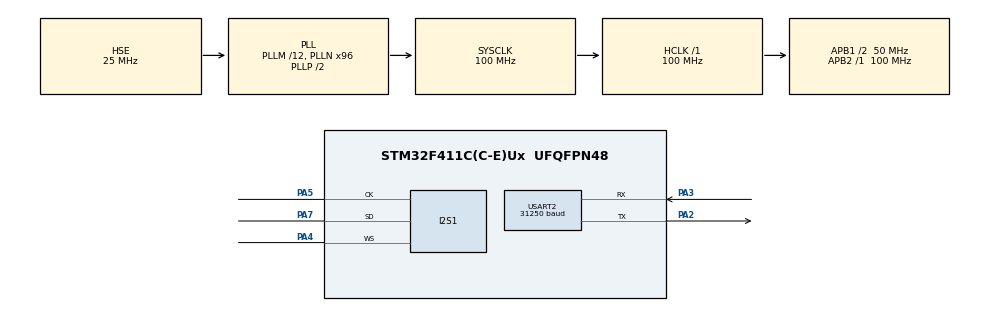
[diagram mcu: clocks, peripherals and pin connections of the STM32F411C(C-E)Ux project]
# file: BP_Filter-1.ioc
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Dma.Request0=SPI1_TX
Dma.SPI1_TX.0.Direction=DMA_MEMORY_TO_PERIPH
Dma.SPI1_TX.0.FIFOMode=DMA_FIFOMODE_ENABLE
Dma.SPI1_TX.0.FIFOThreshold=DMA_FIFO_THRESHOLD_FULL
Dma.SPI1_TX.0.Instance=DMA2_Stream2
Dma.SPI1_TX.0.MemBurst=DMA_MBURST_SINGLE
Dma.SPI1_TX.0.MemDataAlignment=DMA_MDATAALIGN_HALFWORD
Dma.SPI1_TX.0.MemInc=DMA_MINC_ENABLE
Dma.SPI1_TX.0.Mode=DMA_CIRCULAR
Dma.SPI1_TX.0.PeriphBurst=DMA_PBURST_SINGLE
Dma.SPI1_TX.0.PeriphDataAlignment=DMA_PDATAALIGN_HALFWORD
Dma.SPI1_TX.0.PeriphInc=DMA_PINC_DISABLE
Dma.SPI1_TX.0.Priority=DMA_PRIORITY_LOW
I2S1.AudioFreq=I2S_AUDIOFREQ_32K
I2S1.AudioFreqCustom=44100
I2S1.ErrorAudioFreq=0.33 %
I2S1.FullDuplexMode=I2S_FULLDUPLEXMODE_DISABLE
I2S1.Instance=SPI$Index
I2S1.RealAudioFreq=32.106 KHz
I2S1.VirtualMode=I2S_MODE_MASTER
Mcu.Family=STM32F4
Mcu.Name=STM32F411C(C-E)Ux
Mcu.Package=UFQFPN48
NVIC.DMA2_Stream2_IRQn=true\:0\:0\:false\:false\:true\:false\:true
NVIC.PriorityGroup=NVIC_PRIORITYGROUP_4
NVIC.USART2_IRQn=true\:0\:0\:false\:false\:true\:true\:true
PA2.Mode=Asynchronous
PA2.Signal=USART2_TX
PA3.Mode=Asynchronous
PA3.Signal=USART2_RX
PA4.Mode=Half_Duplex_Master
PA4.Signal=I2S1_WS
PA5.Mode=Half_Duplex_Master
PA5.Signal=I2S1_CK
PA7.Mode=Half_Duplex_Master
PA7.Signal=I2S1_SD
PH0\ -\ OSC_IN.Mode=HSE-External-Oscillator
PH0\ -\ OSC_IN.Signal=RCC_OSC_IN
PH1\ -\ OSC_OUT.Mode=HSE-External-Oscillator
PH1\ -\ OSC_OUT.Signal=RCC_OSC_OUT
ProjectManager.HeapSize=0x200
ProjectManager.StackSize=0x400
ProjectManager.TargetToolchain=SW4STM32
RCC.48MHZClocksFreq_Value=50000000
RCC.AHBFreq_Value=100000000
RCC.APB1CLKDivider=RCC_HCLK_DIV2
RCC.APB1Freq_Value=50000000
RCC.APB1TimFreq_Value=100000000
RCC.APB2Freq_Value=100000000
RCC.APB2TimFreq_Value=100000000
RCC.CortexFreq_Value=100000000
RCC.HCLKFreq_Value=100000000
RCC.HSE_VALUE=25000000
RCC.HSI_VALUE=16000000
RCC.LSE_VALUE=32768
RCC.PLLM=12
RCC.PLLN=96
RCC.PLLSourceVirtual=RCC_PLLSOURCE_HSE
RCC.SYSCLKFreq_VALUE=100000000
RCC.SYSCLKSource=RCC_SYSCLKSOURCE_PLLCLK
RCC.VCOOutputFreq_Value=200000000
USART2.BaudRate=31250
USART2.VirtualMode=VM_ASYNC
board=custom

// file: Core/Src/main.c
/* BP-Filter-1 */
	/*
	* This program is free software; you can redistribute it and/or modify
	* it under the terms of the GNU General Public License as published by
	* the Free Software Foundation; either version 2 of the License, or
	* (at your option) any later version.
	*
	* This program is distributed in the hope that it will be useful,
	* but WITHOUT ANY WARRANTY; without even the implied warranty of
	* MERCHANTABILITY or FITNESS FOR A PARTICULAR PURPOSE. See the
	* GNU General Public License for more details.
	*
	* You should have received a copy of the GNU General Public License
	* along with this program; If not, see <http://www.gnu.org/licenses/>.
	*/
/* USER CODE END Header */

#include "main.h"

I2S_HandleTypeDef hi2s1;
DMA_HandleTypeDef hdma_spi1_tx;

UART_HandleTypeDef huart2;

/* USER CODE BEGIN PV */
uint16_t audiobuff[BUFF_LEN]; // THE audio buffer

//---MIDI Interface variables
uint8_t rx_buff[3];
uint8_t MIDI_rx[3];
uint8_t MIDIcmd;
uint8_t MIDInote;
uint8_t MIDIvel;

uint8_t voice[16];
uint8_t noteCount=0;
uint8_t currNote=54;//initial note value
uint8_t noteByteFlag=0;

//---pitchbend variables
uint8_t bendRange=6;
float bendFactor=1.0f;

extern Oscillator_t 		op1 ;
extern ADSR_t amp_EG;

/* USER CODE END PV */

void SystemClock_Config(void);
static void MX_GPIO_Init(void);
static void MX_DMA_Init(void);
static void MX_I2S1_Init(void);
static void MX_USART2_UART_Init(void);
/* USER CODE BEGIN PFP */
void procMIDI(void);
void MIDInoteOn(uint8_t note);
void MIDInoteOff(uint8_t note);
void doPitchBnd(void);
/* USER CODE END PFP */

/* USER CODE BEGIN 0 */
/* -------these two callbacks keep the circular DMA buffer loaded ------------*/

//when DMA output to dac is halfway done, we will reload the first 1000 values
//while the DMA output continues with the 2nd half of the buffer
//the BUFF_LEN_DIV4=500 but we are doing left and right samples (*2)= 1000 samples.
void HAL_I2S_TxHalfCpltCallback(I2S_HandleTypeDef *hi2s) {

	make_sound((uint16_t *) audiobuff, BUFF_LEN_DIV4);

}

//The DMA output has reached the end of the buffer.  The 1st half is done loading and the DMA
//is going to start sending the 1st half of elements/values to the DAC Chip again.  While it is
//doing that we want to fill in the 2nd half again starting at 1000 elements past &audiobuff
void HAL_I2S_TxCpltCallback(I2S_HandleTypeDef *hi2s) {
	make_sound((uint16_t *) (audiobuff + BUFF_LEN_DIV2), BUFF_LEN_DIV4);
}

//callback when a value is received at the midi port
// (the HAL_NVIC_SetPriority in HAL_UART_MspInit must be set to 0!)
void HAL_UART_RxCpltCallback(UART_HandleTypeDef *huart) {

  //ignore 0xFx commands
	if (rx_buff[0] >= 0xF0) {
		//reset the interrupt for the MIDI port
		HAL_UART_Receive_IT(&huart2, rx_buff, 1);
		return;
	}

//save a command byte to MIDI_rx[0]
	if (rx_buff[0] & 0x80) {
		MIDI_rx[0] = rx_buff[0];
		noteByteFlag = 0;// clear the flag
		HAL_UART_Receive_IT(&huart2, rx_buff, 1);
		return;
	}

//when we get here we are saving a note Velocity or CC value
	if (noteByteFlag) {
		noteByteFlag = 0;
		MIDI_rx[2] = rx_buff[0];
		HAL_UART_Receive_IT(&huart2, rx_buff, 1);
		procMIDI();//we have three bytes, LET's GO PROCESS THEM!
		return;
	}

	//if we get to here, then we must be rx'ing a MIDI note or Control Change number
	MIDI_rx[1] = rx_buff[0];
	noteByteFlag = 1;//set flag so we stop at above evaluation
	HAL_UART_Receive_IT(&huart2, rx_buff, 1);

}

void procMIDI(void) {

	MIDIcmd = MIDI_rx[0];
	MIDInote = MIDI_rx[1];
	MIDIvel = MIDI_rx[2];

	if ((!MIDIvel) && (MIDIcmd == 0x90)) {
		MIDInoteOff(MIDInote);
		HAL_UART_Receive_IT(&huart2, rx_buff, 1);
		return;
	}

	if (MIDIcmd == 0x80) {
		MIDInoteOff(MIDInote);
		HAL_UART_Receive_IT(&huart2, rx_buff, 1);
		return;
	}

	if (MIDIcmd == 0x90) {
		MIDInoteOn(MIDInote);
		HAL_UART_Receive_IT(&huart2, rx_buff, 1);
		return;
	}

	if (MIDIcmd == 0xB0) {
		ProcessRXdMidiCCs();
		HAL_UART_Receive_IT(&huart2, rx_buff, 1);
		return;
	}

	if (MIDIcmd == 0xE0) {
		doPitchBnd();
		HAL_UART_Receive_IT(&huart2, rx_buff, 1);
		return;
	}
}

void MIDInoteOn(uint8_t note)
{
  if (!noteCount) {
    voice [0] = note;
    ADSR_keyOn(&amp_EG);
    currNote = voice[0];
    noteCount++;
    return;
  }

  for (int i = 0; i < 16; i++) {
    if (!voice[i]) {
      voice[i] = note;
      currNote = voice[i];
      ADSR_keyOn(&amp_EG);
      noteCount++;
      break;
    }
  }

}

void MIDInoteOff(uint8_t note)
{

  if (note == currNote && noteCount>1) {
	  for (int i = 0; i < 16; i++) {
      if (note == voice[i]) {
        currNote = voice[i - 1];
        ADSR_keyOn(&amp_EG);
        voice[i] = 0;
        noteCount--;
        break;
      }

    }
          return;
  }

  if (noteCount < 2) {
	  ADSR_keyOff(&amp_EG);
    voice[0] = 0;
    noteCount--;
    if (noteCount < 0) {
      noteCount = 0;
    }
  }
  if (noteCount > 1) {  //if a note is released that was held down, but not playing
    for (int i = 0; i < 16; i++) {// find the note in the array
      if (voice[i] == note) {
        voice[i] = 0; //remove the note
        for (int c = (i + 1); c < 16; c++) {
          voice[i] = voice[c]; //shift all notes past the removed one, left by one place in array
          ++i;
        }
        voice[15] = 0;
        noteCount--;
        break;
      }
    }
  }

}

void doPitchBnd(void) {

	uint16_t pBendMSB = MIDIvel;
	uint16_t pBendLSB = MIDInote;
	pBendMSB = pBendMSB << 7;
	uint16_t pBendVal = pBendMSB | pBendLSB;
	float mapPitch = pBendVal - 8192;
	float semiPitch = mapPitch / 8192;
	float adjSemiPitch = semiPitch * bendRange;
	float preBendFctr = adjSemiPitch / 12;
	bendFactor = powf(2.0, preBendFctr);

}

/* USER CODE END 0 */

int main(void)
{

  /* MCU Configuration--------------------------------------------------------*/

  /* Reset of all peripherals, Initializes the Flash interface and the Systick. */
  HAL_Init();

  /* Configure the system clock */
  SystemClock_Config();

  /* Initialize all configured peripherals */
  MX_GPIO_Init();
  MX_DMA_Init();
  MX_I2S1_Init();
  MX_USART2_UART_Init();
  /* USER CODE BEGIN 2 */

  Synth_Init();//inits some basic settings to the oscillator

  //init the I2S interface
  HAL_I2S_Init(&hi2s1);

  /*start the DMA and inform how long the buffer is so it knows
   where the halfway point is and the endpoint (when completed)
   VVVV---THIS starts up the audio stream!---VVV  */
  HAL_I2S_Transmit_DMA(&hi2s1, (uint16_t*) &audiobuff[0], BUFF_LEN);

  //clear array value to 0
  MIDI_rx[1] = 0;

  /* USER CODE END 2 */

  /* Infinite loop */
  /* USER CODE BEGIN WHILE */
  while (1)
  {

	//enables the interrupt for the MIDI port
	//in MX_DMA_Init, be sure we have "HAL_NVIC_SetPriority(DMA1_Stream5_IRQn, 13, 0); "
	HAL_UART_Receive_IT(&huart2, rx_buff, 1);

    /* USER CODE END WHILE */

  }
}

void SystemClock_Config(void)
{
  RCC_OscInitTypeDef RCC_OscInitStruct = {0};
  RCC_ClkInitTypeDef RCC_ClkInitStruct = {0};
  RCC_PeriphCLKInitTypeDef PeriphClkInitStruct = {0};

  /** Configure the main internal regulator output voltage
  */
  __HAL_RCC_PWR_CLK_ENABLE();
  __HAL_PWR_VOLTAGESCALING_CONFIG(PWR_REGULATOR_VOLTAGE_SCALE1);
  /** Initializes the RCC Oscillators according to the specified parameters
  * in the RCC_OscInitTypeDef structure.
  */
  RCC_OscInitStruct.OscillatorType = RCC_OSCILLATORTYPE_HSE;
  RCC_OscInitStruct.HSEState = RCC_HSE_ON;
  RCC_OscInitStruct.PLL.PLLState = RCC_PLL_ON;
  RCC_OscInitStruct.PLL.PLLSource = RCC_PLLSOURCE_HSE;
  RCC_OscInitStruct.PLL.PLLM = 12;
  RCC_OscInitStruct.PLL.PLLN = 96;
  RCC_OscInitStruct.PLL.PLLP = RCC_PLLP_DIV2;
  RCC_OscInitStruct.PLL.PLLQ = 4;
  if (HAL_RCC_OscConfig(&RCC_OscInitStruct) != HAL_OK)
  {
    Error_Handler();
  }
  /** Initializes the CPU, AHB and APB buses clocks
  */
  RCC_ClkInitStruct.ClockType = RCC_CLOCKTYPE_HCLK|RCC_CLOCKTYPE_SYSCLK
                              |RCC_CLOCKTYPE_PCLK1|RCC_CLOCKTYPE_PCLK2;
  RCC_ClkInitStruct.SYSCLKSource = RCC_SYSCLKSOURCE_PLLCLK;
  RCC_ClkInitStruct.AHBCLKDivider = RCC_SYSCLK_DIV1;
  RCC_ClkInitStruct.APB1CLKDivider = RCC_HCLK_DIV2;
  RCC_ClkInitStruct.APB2CLKDivider = RCC_HCLK_DIV1;

  if (HAL_RCC_ClockConfig(&RCC_ClkInitStruct, FLASH_LATENCY_3) != HAL_OK)
  {
    Error_Handler();
  }
  PeriphClkInitStruct.PeriphClockSelection = RCC_PERIPHCLK_I2S;
  PeriphClkInitStruct.PLLI2S.PLLI2SN = 194;
  PeriphClkInitStruct.PLLI2S.PLLI2SM = 16;
  PeriphClkInitStruct.PLLI2S.PLLI2SR = 2;
  if (HAL_RCCEx_PeriphCLKConfig(&PeriphClkInitStruct) != HAL_OK)
  {
    Error_Handler();
  }
}

static void MX_I2S1_Init(void)
{

  hi2s1.Instance = SPI1;
  hi2s1.Init.Mode = I2S_MODE_MASTER_TX;
  hi2s1.Init.Standard = I2S_STANDARD_PHILIPS;
  hi2s1.Init.DataFormat = I2S_DATAFORMAT_16B;
  hi2s1.Init.MCLKOutput = I2S_MCLKOUTPUT_DISABLE;
  hi2s1.Init.AudioFreq = I2S_AUDIOFREQ_32K;
  hi2s1.Init.CPOL = I2S_CPOL_LOW;
  hi2s1.Init.ClockSource = I2S_CLOCK_PLL;
  hi2s1.Init.FullDuplexMode = I2S_FULLDUPLEXMODE_DISABLE;
  if (HAL_I2S_Init(&hi2s1) != HAL_OK)
  {
    Error_Handler();
  }

}

static void MX_USART2_UART_Init(void)
{

  huart2.Instance = USART2;
  huart2.Init.BaudRate = 31250;
  huart2.Init.WordLength = UART_WORDLENGTH_8B;
  huart2.Init.StopBits = UART_STOPBITS_1;
  huart2.Init.Parity = UART_PARITY_NONE;
  huart2.Init.Mode = UART_MODE_TX_RX;
  huart2.Init.HwFlowCtl = UART_HWCONTROL_NONE;
  huart2.Init.OverSampling = UART_OVERSAMPLING_16;
  if (HAL_UART_Init(&huart2) != HAL_OK)
  {
    Error_Handler();
  }

}

static void MX_DMA_Init(void)
{

  /* DMA controller clock enable */
  __HAL_RCC_DMA2_CLK_ENABLE();

  /* DMA interrupt init */
  /* DMA2_Stream2_IRQn interrupt configuration */
  HAL_NVIC_SetPriority(DMA2_Stream2_IRQn, 13, 0);
  HAL_NVIC_EnableIRQ(DMA2_Stream2_IRQn);

}

static void MX_GPIO_Init(void)
{

  /* GPIO Ports Clock Enable */
  __HAL_RCC_GPIOH_CLK_ENABLE();
  __HAL_RCC_GPIOA_CLK_ENABLE();

}

void Error_Handler(void)
{
}

/************************ (C) COPYRIGHT STMicroelectronics *****END OF FILE****/
